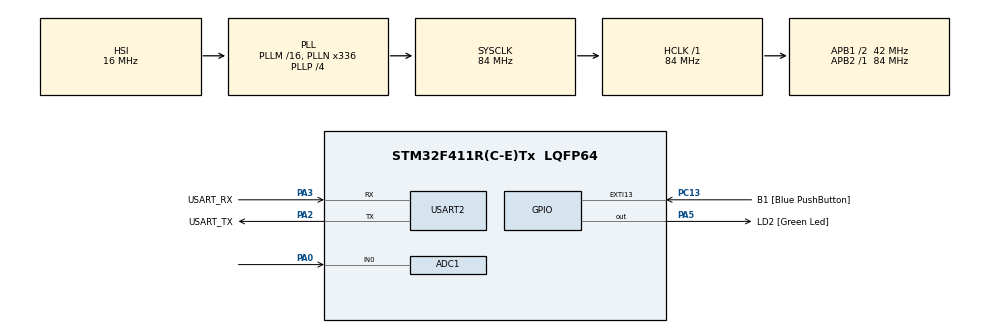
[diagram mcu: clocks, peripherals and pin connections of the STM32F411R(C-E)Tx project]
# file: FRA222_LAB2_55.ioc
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ADC1.Channel-0\#ChannelRegularConversion=ADC_CHANNEL_0
ADC1.Channel-1\#ChannelRegularConversion=ADC_CHANNEL_TEMPSENSOR
ADC1.ContinuousConvMode=ENABLE
ADC1.DMAContinuousRequests=ENABLE
ADC1.EOCSelection=ADC_EOC_SEQ_CONV
ADC1.NbrOfConversion=2
ADC1.NbrOfConversionFlag=1
ADC1.Rank-0\#ChannelRegularConversion=1
ADC1.Rank-1\#ChannelRegularConversion=2
ADC1.SamplingTime-0\#ChannelRegularConversion=ADC_SAMPLETIME_56CYCLES
ADC1.SamplingTime-1\#ChannelRegularConversion=ADC_SAMPLETIME_56CYCLES
ADC1.ScanConvMode=ENABLE
ADC1.master=1
Dma.ADC1.0.Direction=DMA_PERIPH_TO_MEMORY
Dma.ADC1.0.FIFOMode=DMA_FIFOMODE_DISABLE
Dma.ADC1.0.Instance=DMA2_Stream0
Dma.ADC1.0.MemDataAlignment=DMA_MDATAALIGN_HALFWORD
Dma.ADC1.0.MemInc=DMA_MINC_ENABLE
Dma.ADC1.0.Mode=DMA_CIRCULAR
Dma.ADC1.0.PeriphDataAlignment=DMA_PDATAALIGN_HALFWORD
Dma.ADC1.0.PeriphInc=DMA_PINC_DISABLE
Dma.ADC1.0.Priority=DMA_PRIORITY_LOW
Dma.Request0=ADC1
Mcu.Family=STM32F4
Mcu.Name=STM32F411R(C-E)Tx
Mcu.Package=LQFP64
NVIC.DMA2_Stream0_IRQn=true\:0\:0\:false\:false\:true\:false\:true\:true
NVIC.PriorityGroup=NVIC_PRIORITYGROUP_0
PA0-WKUP.Signal=ADCx_IN0
PA13.GPIO_Label=TMS
PA13.Mode=Serial_Wire
PA13.Signal=SYS_JTMS-SWDIO
PA14.GPIO_Label=TCK
PA14.Mode=Serial_Wire
PA14.Signal=SYS_JTCK-SWCLK
PA2.GPIO_Label=USART_TX
PA2.Mode=Asynchronous
PA2.Signal=USART2_TX
PA3.GPIO_Label=USART_RX
PA3.Mode=Asynchronous
PA3.Signal=USART2_RX
PA5.GPIO_Label=LD2 [Green Led]
PA5.Signal=GPIO_Output
PB3.GPIO_Label=SWO
PB3.Signal=SYS_JTDO-SWO
PC13-ANTI_TAMP.GPIO_Label=B1 [Blue PushButton]
PC13-ANTI_TAMP.GPIO_ModeDefaultEXTI=GPIO_MODE_IT_FALLING
PC13-ANTI_TAMP.Signal=GPXTI13
PC14-OSC32_IN.Mode=LSE-External-Oscillator
PC14-OSC32_IN.Signal=RCC_OSC32_IN
PC15-OSC32_OUT.Mode=LSE-External-Oscillator
PC15-OSC32_OUT.Signal=RCC_OSC32_OUT
PH0\ -\ OSC_IN.Mode=HSE-External-Clock-Source
PH0\ -\ OSC_IN.Signal=RCC_OSC_IN
PH1\ -\ OSC_OUT.Mode=HSE-External-Clock-Source
PH1\ -\ OSC_OUT.Signal=RCC_OSC_OUT
ProjectManager.HeapSize=0x200
ProjectManager.StackSize=0x400
ProjectManager.TargetToolchain=STM32CubeIDE
RCC.48MHZClocksFreq_Value=84000000
RCC.AHBFreq_Value=84000000
RCC.APB1CLKDivider=RCC_HCLK_DIV2
RCC.APB1Freq_Value=42000000
RCC.APB1TimFreq_Value=84000000
RCC.APB2Freq_Value=84000000
RCC.APB2TimFreq_Value=84000000
RCC.CortexFreq_Value=84000000
RCC.FLatency-AdvancedSettings=FLASH_LATENCY_2
RCC.HCLKFreq_Value=84000000
RCC.HSE_VALUE=8000000
RCC.HSI_VALUE=16000000
RCC.PLLN=336
RCC.PLLP=RCC_PLLP_DIV4
RCC.SYSCLKFreq_VALUE=84000000
RCC.SYSCLKSource=RCC_SYSCLKSOURCE_PLLCLK
RCC.VCOOutputFreq_Value=336000000
SH.ADCx_IN0.0=ADC1_IN0,IN0
USART2.VirtualMode=VM_ASYNC
VP_ADC1_TempSens_Input.Mode=IN-TempSens
board=NUCLEO-F411RE

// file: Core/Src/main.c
/* USER CODE BEGIN Header */
/**
  ******************************************************************************
  * @file           : main.c
  * @brief          : Main program body
  ******************************************************************************
  * @attention
  *
  * Copyright (c) 2023 STMicroelectronics.
  * All rights reserved.
  *
  * This software is licensed under terms that can be found in the LICENSE file
  * in the root directory of this software component.
  * If no LICENSE file comes with this software, it is provided AS-IS.
  *
  ******************************************************************************
  */
/* USER CODE END Header */
#include "main.h"

ADC_HandleTypeDef hadc1;
DMA_HandleTypeDef hdma_adc1;

UART_HandleTypeDef huart2;

/* USER CODE BEGIN PV */
//uint32_t adcRawData;
//uint16_t adcDMA[20];
//static double Temp_tempo ;
//static double Volt_tempo ;
static double real_Temp;
static double real_Volt;

typedef union{
	struct{
		uint16_t ADC_IN0;
		uint16_t Tempsensor;
	}subData;
	uint16_t buffer[2];
}DMA_ADC_BufferType;

DMA_ADC_BufferType buffer[10];

/* USER CODE END PV */

void SystemClock_Config(void);
static void MX_GPIO_Init(void);
static void MX_DMA_Init(void);
static void MX_USART2_UART_Init(void);
static void MX_ADC1_Init(void);

int main(void)
{

  /* MCU Configuration--------------------------------------------------------*/

  /* Reset of all peripherals, Initializes the Flash interface and the Systick. */
  HAL_Init();

  /* Configure the system clock */
  SystemClock_Config();

  /* Initialize all configured peripherals */
  MX_GPIO_Init();
  MX_DMA_Init();
  MX_USART2_UART_Init();
  MX_ADC1_Init();

  /* Infinite loop */
  /* USER CODE BEGIN WHILE */

  HAL_ADC_Start_DMA(&hadc1, &buffer, 20);
  while (1)
  {
    /* USER CODE END WHILE */

    /* USER CODE BEGIN 3 */
	  static uint32_t timestamp = 1000;

	  if(timestamp <= HAL_GetTick()){
		  timestamp = HAL_GetTick() + 1000;
		  looper();
	  }

  }
  /* USER CODE END 3 */
}

void SystemClock_Config(void)
{
  RCC_OscInitTypeDef RCC_OscInitStruct = {0};
  RCC_ClkInitTypeDef RCC_ClkInitStruct = {0};

  /** Configure the main internal regulator output voltage
  */
  __HAL_RCC_PWR_CLK_ENABLE();
  __HAL_PWR_VOLTAGESCALING_CONFIG(PWR_REGULATOR_VOLTAGE_SCALE1);

  /** Initializes the RCC Oscillators according to the specified parameters
  * in the RCC_OscInitTypeDef structure.
  */
  RCC_OscInitStruct.OscillatorType = RCC_OSCILLATORTYPE_HSI;
  RCC_OscInitStruct.HSIState = RCC_HSI_ON;
  RCC_OscInitStruct.HSICalibrationValue = RCC_HSICALIBRATION_DEFAULT;
  RCC_OscInitStruct.PLL.PLLState = RCC_PLL_ON;
  RCC_OscInitStruct.PLL.PLLSource = RCC_PLLSOURCE_HSI;
  RCC_OscInitStruct.PLL.PLLM = 16;
  RCC_OscInitStruct.PLL.PLLN = 336;
  RCC_OscInitStruct.PLL.PLLP = RCC_PLLP_DIV4;
  RCC_OscInitStruct.PLL.PLLQ = 4;
  if (HAL_RCC_OscConfig(&RCC_OscInitStruct) != HAL_OK)
  {
    Error_Handler();
  }

  /** Initializes the CPU, AHB and APB buses clocks
  */
  RCC_ClkInitStruct.ClockType = RCC_CLOCKTYPE_HCLK|RCC_CLOCKTYPE_SYSCLK
                              |RCC_CLOCKTYPE_PCLK1|RCC_CLOCKTYPE_PCLK2;
  RCC_ClkInitStruct.SYSCLKSource = RCC_SYSCLKSOURCE_PLLCLK;
  RCC_ClkInitStruct.AHBCLKDivider = RCC_SYSCLK_DIV1;
  RCC_ClkInitStruct.APB1CLKDivider = RCC_HCLK_DIV2;
  RCC_ClkInitStruct.APB2CLKDivider = RCC_HCLK_DIV1;

  if (HAL_RCC_ClockConfig(&RCC_ClkInitStruct, FLASH_LATENCY_2) != HAL_OK)
  {
    Error_Handler();
  }
}

static void MX_ADC1_Init(void)
{

  ADC_ChannelConfTypeDef sConfig = {0};

  /** Configure the global features of the ADC (Clock, Resolution, Data Alignment and number of conversion)
  */
  hadc1.Instance = ADC1;
  hadc1.Init.ClockPrescaler = ADC_CLOCK_SYNC_PCLK_DIV4;
  hadc1.Init.Resolution = ADC_RESOLUTION_12B;
  hadc1.Init.ScanConvMode = ENABLE;
  hadc1.Init.ContinuousConvMode = ENABLE;
  hadc1.Init.DiscontinuousConvMode = DISABLE;
  hadc1.Init.ExternalTrigConvEdge = ADC_EXTERNALTRIGCONVEDGE_NONE;
  hadc1.Init.ExternalTrigConv = ADC_SOFTWARE_START;
  hadc1.Init.DataAlign = ADC_DATAALIGN_RIGHT;
  hadc1.Init.NbrOfConversion = 2;
  hadc1.Init.DMAContinuousRequests = ENABLE;
  hadc1.Init.EOCSelection = ADC_EOC_SEQ_CONV;
  if (HAL_ADC_Init(&hadc1) != HAL_OK)
  {
    Error_Handler();
  }

  /** Configure for the selected ADC regular channel its corresponding rank in the sequencer and its sample time.
  */
  sConfig.Channel = ADC_CHANNEL_0;
  sConfig.Rank = 1;
  sConfig.SamplingTime = ADC_SAMPLETIME_56CYCLES;
  if (HAL_ADC_ConfigChannel(&hadc1, &sConfig) != HAL_OK)
  {
    Error_Handler();
  }

  /** Configure for the selected ADC regular channel its corresponding rank in the sequencer and its sample time.
  */
  sConfig.Channel = ADC_CHANNEL_TEMPSENSOR;
  sConfig.Rank = 2;
  if (HAL_ADC_ConfigChannel(&hadc1, &sConfig) != HAL_OK)
  {
    Error_Handler();
  }

}

static void MX_USART2_UART_Init(void)
{

  huart2.Instance = USART2;
  huart2.Init.BaudRate = 115200;
  huart2.Init.WordLength = UART_WORDLENGTH_8B;
  huart2.Init.StopBits = UART_STOPBITS_1;
  huart2.Init.Parity = UART_PARITY_NONE;
  huart2.Init.Mode = UART_MODE_TX_RX;
  huart2.Init.HwFlowCtl = UART_HWCONTROL_NONE;
  huart2.Init.OverSampling = UART_OVERSAMPLING_16;
  if (HAL_UART_Init(&huart2) != HAL_OK)
  {
    Error_Handler();
  }

}

static void MX_DMA_Init(void)
{

  /* DMA controller clock enable */
  __HAL_RCC_DMA2_CLK_ENABLE();

  /* DMA interrupt init */
  /* DMA2_Stream0_IRQn interrupt configuration */
  HAL_NVIC_SetPriority(DMA2_Stream0_IRQn, 0, 0);
  HAL_NVIC_EnableIRQ(DMA2_Stream0_IRQn);

}

static void MX_GPIO_Init(void)
{
  GPIO_InitTypeDef GPIO_InitStruct = {0};

  /* GPIO Ports Clock Enable */
  __HAL_RCC_GPIOC_CLK_ENABLE();
  __HAL_RCC_GPIOH_CLK_ENABLE();
  __HAL_RCC_GPIOA_CLK_ENABLE();
  __HAL_RCC_GPIOB_CLK_ENABLE();

  /*Configure GPIO pin Output Level */
  HAL_GPIO_WritePin(LD2_GPIO_Port, LD2_Pin, GPIO_PIN_RESET);

  /*Configure GPIO pin : B1_Pin */
  GPIO_InitStruct.Pin = B1_Pin;
  GPIO_InitStruct.Mode = GPIO_MODE_IT_FALLING;
  GPIO_InitStruct.Pull = GPIO_NOPULL;
  HAL_GPIO_Init(B1_GPIO_Port, &GPIO_InitStruct);

  /*Configure GPIO pin : LD2_Pin */
  GPIO_InitStruct.Pin = LD2_Pin;
  GPIO_InitStruct.Mode = GPIO_MODE_OUTPUT_PP;
  GPIO_InitStruct.Pull = GPIO_NOPULL;
  GPIO_InitStruct.Speed = GPIO_SPEED_FREQ_LOW;
  HAL_GPIO_Init(LD2_GPIO_Port, &GPIO_InitStruct);

}

/* USER CODE BEGIN 4 */

void looper(){
	int Temp = 0;
	int Volt = 0;
	int Temp_avg ;
	int Volt_avg ;

	for(int i = 0;i<10;i++)
	{
		Temp += buffer[i].subData.Tempsensor;
		Volt += buffer[i].subData.ADC_IN0;
	}
	Temp_avg = Temp/10;
	Volt_avg = Volt/10;
	real_Temp = (((((3.3*Temp_avg)/4095)*1000) - 760)/2.5)+ 25 + 273.15;
	real_Volt = ((3.3*Volt_avg/4095)*1000)*2;
	Temp = 0;
	Volt = 0;
}
/* USER CODE END 4 */

void Error_Handler(void)
{
  __disable_irq();
  while (1)
  {
  }
}
